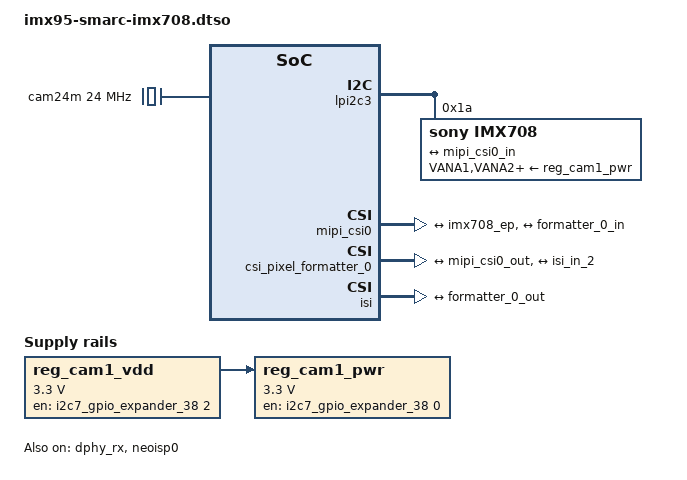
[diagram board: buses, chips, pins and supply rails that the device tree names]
// SPDX-License-Identifier: (GPL-2.0+ OR MIT)
/*
 * Copyright 2026 Jason Yang <jasonyang@ieiworld.com>
 *
 * IMX708 camera on the CN_CAM connector (CSI1, 2 lanes), RAW frames
 * processed by the NEO ISP.
 */

/dts-v1/;
/plugin/;

#include <dt-bindings/gpio/gpio.h>

&{/} {
	cam24m: clock-cam24m {
		compatible = "fixed-clock";
		#clock-cells = <0>;
		clock-frequency = <24000000>;
		clock-output-names = "cam24m";
	};

	reg_cam1_vdd: regulator-cam1-vdd {
		compatible = "regulator-fixed";
		regulator-name = "CAM1_3V3";
		regulator-min-microvolt = <3300000>;
		regulator-max-microvolt = <3300000>;
		gpio = <&i2c7_gpio_expander_38 2 GPIO_ACTIVE_HIGH>;
		enable-active-high;
	};

	reg_cam1_pwr: regulator-cam1-pwr {
		compatible = "regulator-fixed";
		regulator-name = "CAM1_PWR";
		regulator-min-microvolt = <3300000>;
		regulator-max-microvolt = <3300000>;
		gpio = <&i2c7_gpio_expander_38 0 GPIO_ACTIVE_HIGH>;
		enable-active-high;
		vin-supply = <&reg_cam1_vdd>;
		startup-delay-us = <70000>;
		off-on-delay-us = <30000>;
	};
};

&lpi2c3 {
	#address-cells = <1>;
	#size-cells = <0>;
	status = "okay";

	imx708: camera@1a {
		compatible = "sony,imx708";
		reg = <0x1a>;
		clocks = <&cam24m>;
		VANA1-supply = <&reg_cam1_pwr>;
		VANA2-supply = <&reg_cam1_pwr>;
		VDIG-supply = <&reg_cam1_pwr>;
		VDDL-supply = <&reg_cam1_pwr>;
		status = "okay";

		port {
			imx708_ep: endpoint {
				remote-endpoint = <&mipi_csi0_in>;
				data-lanes = <1 2>;
				clock-noncontinuous;
				link-frequencies = /bits/ 64 <450000000>;
			};
		};
	};
};

&dphy_rx {
	status = "okay";
};

&mipi_csi0 {
	status = "okay";

	ports {
		#address-cells = <1>;
		#size-cells = <0>;

		port@0 {
			reg = <0>;

			mipi_csi0_in: endpoint {
				remote-endpoint = <&imx708_ep>;
				data-lanes = <1 2>;
				clock-lanes = <0>;
			};
		};

		port@1 {
			reg = <1>;

			mipi_csi0_out: endpoint {
				remote-endpoint = <&formatter_0_in>;
			};
		};
	};
};

&csi_pixel_formatter_0 {
	status = "okay";

	ports {
		#address-cells = <1>;
		#size-cells = <0>;

		port@0 {
			reg = <0>;

			formatter_0_in: endpoint {
				remote-endpoint = <&mipi_csi0_out>;
			};
		};

		port@1 {
			reg = <1>;

			formatter_0_out: endpoint {
				remote-endpoint = <&isi_in_2>;
			};
		};
	};
};

&isi {
	status = "okay";

	ports {
		#address-cells = <1>;
		#size-cells = <0>;

		port@2 {
			reg = <2>;

			isi_in_2: endpoint {
				remote-endpoint = <&formatter_0_out>;
			};
		};
	};
};

&neoisp0 {
	status = "okay";
};
